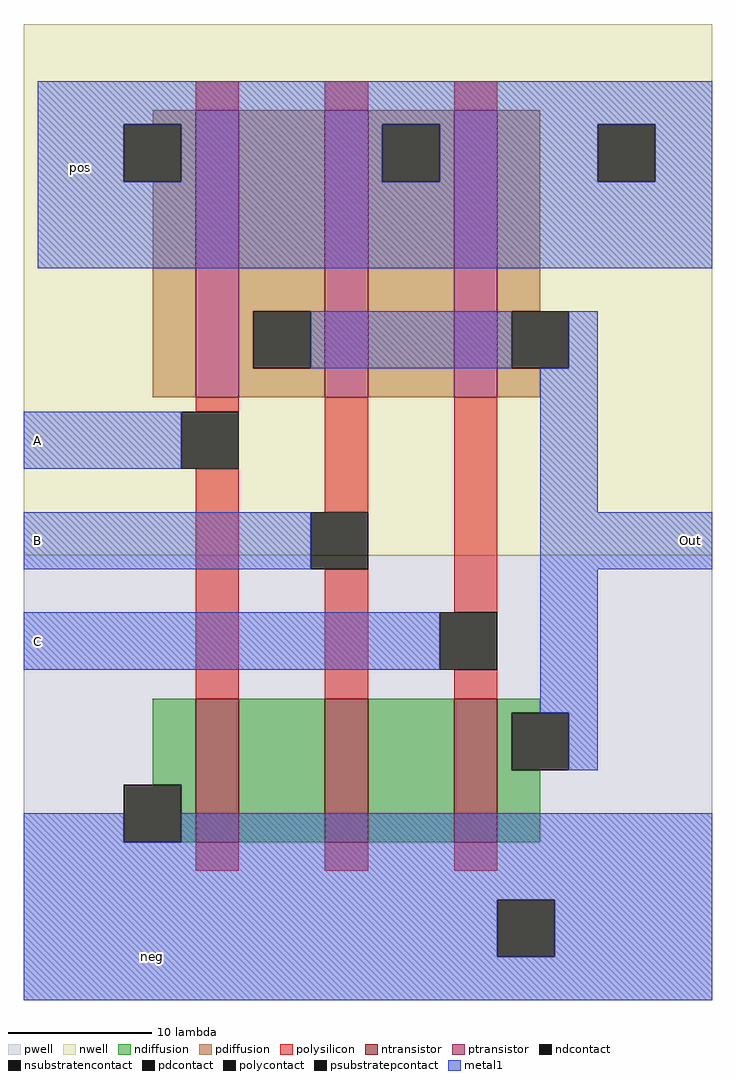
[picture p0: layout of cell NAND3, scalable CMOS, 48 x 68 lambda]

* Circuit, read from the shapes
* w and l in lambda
.subckt NAND3 A B C Out neg pos
M1 n1 A neg neg nfet w=10 l=3
M2 n2 B n1 neg nfet w=10 l=3
M3 Out C n2 neg nfet w=10 l=3
M4 Out A pos pos pfet w=20 l=3
M5 pos B Out pos pfet w=20 l=3
M6 Out C pos pos pfet w=20 l=3
.ends

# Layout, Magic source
magic
tech scmos
<< nwell >>
rect -12 -11 36 26
<< pwell >>
rect -12 -42 36 -11
<< ntransistor >>
rect 0 -31 3 -21
rect 9 -31 12 -21
rect 18 -31 21 -21
<< ptransistor >>
rect 0 0 3 20
rect 9 0 12 20
rect 18 0 21 20
<< ndiffusion >>
rect -3 -27 0 -21
rect -1 -31 0 -27
rect 3 -31 9 -21
rect 12 -31 18 -21
rect 21 -22 24 -21
rect 21 -26 22 -22
rect 21 -31 24 -26
<< pdiffusion >>
rect -3 19 0 20
rect -1 15 0 19
rect -3 0 0 15
rect 3 6 9 20
rect 3 2 4 6
rect 8 2 9 6
rect 3 0 9 2
rect 12 19 18 20
rect 12 15 13 19
rect 17 15 18 19
rect 12 0 18 15
rect 21 6 24 20
rect 21 2 22 6
rect 21 0 24 2
<< ndcontact >>
rect -5 -31 -1 -27
rect 22 -26 26 -22
<< pdcontact >>
rect -5 15 -1 19
rect 4 2 8 6
rect 13 15 17 19
rect 22 2 26 6
<< psubstratepcontact >>
rect 21 -39 25 -35
<< nsubstratencontact >>
rect 28 15 32 19
<< polysilicon >>
rect 0 20 3 22
rect 9 20 12 22
rect 18 20 21 22
rect 0 -1 3 0
rect 0 -21 3 -5
rect 9 -8 12 0
rect 9 -21 12 -12
rect 18 -15 21 0
rect 18 -21 21 -19
rect 0 -33 3 -31
rect 9 -33 12 -31
rect 18 -33 21 -31
<< polycontact >>
rect -1 -5 3 -1
rect 8 -12 12 -8
rect 17 -19 21 -15
<< metal1 >>
rect -11 19 36 22
rect -11 15 -5 19
rect -1 15 13 19
rect 17 15 28 19
rect 32 15 36 19
rect -11 9 36 15
rect 8 2 22 6
rect 26 2 28 6
rect -12 -5 -1 -1
rect 24 -8 28 2
rect -12 -12 8 -8
rect 24 -12 36 -8
rect -12 -19 17 -15
rect 24 -22 28 -12
rect 26 -26 28 -22
rect -12 -31 -5 -29
rect -1 -31 36 -29
rect -12 -35 36 -31
rect -12 -39 21 -35
rect 25 -39 36 -35
rect -12 -42 36 -39
<< labels >>
rlabel metal1 34 -10 35 -10 7 Out
rlabel metal1 -11 -3 -11 -3 3 A
rlabel metal1 -11 -10 -11 -10 3 B
rlabel metal1 -11 -17 -11 -17 3 C
rlabel metal1 -3 -39 -3 -39 1 neg
rlabel metal1 -8 16 -8 16 3 pos
<< end >>
